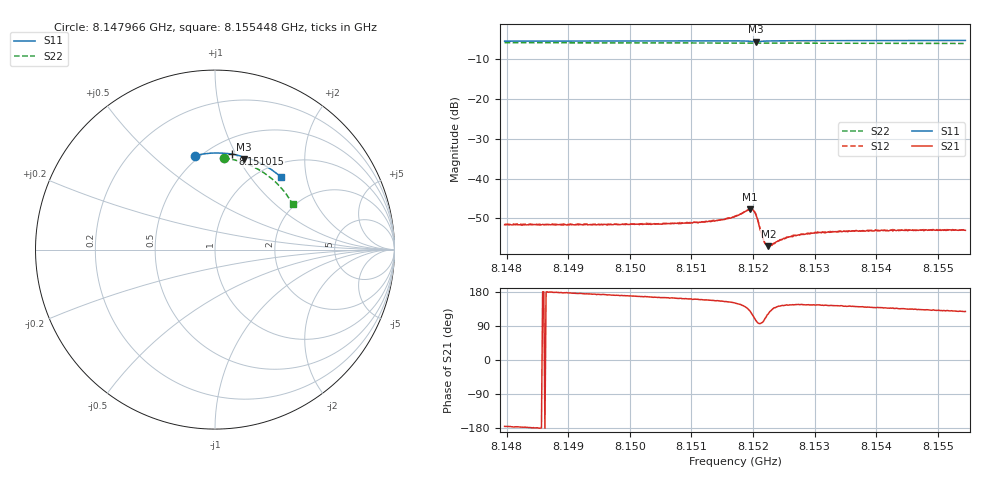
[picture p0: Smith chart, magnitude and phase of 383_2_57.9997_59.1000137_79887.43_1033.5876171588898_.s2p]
#  HZ  S  RI  R  50.00
! Rohde & Schwarz Vector Network Analyzer
! Rohde-Schwarz,ZNB20-2Port,1311601062101988,3.16
! Created: UTC 3/21/2024, 1:07:25 AM
! freq[Hz]  re:S11  im:S11  re:S21  im:S21  re:S12  im:S12  re:S22  im:S22
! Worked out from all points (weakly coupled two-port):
!   401 points, 8.147966 GHz to 8.155448 GHz, reference 50 ohm
!   highest |S21| = -47.76 dB at 8.15195 GHz (marker M1); lowest = -57.0 dB at 8.152249 GHz (marker M2)
!   lowest |S11| = -5.5 dB at 8.152044 GHz (marker M3), VSWR 3.25, Z = 37.6 + j52.7 ohm
!   |S11| at or under -10 dB: nowhere
!   |S22| runs from -6.0 to -5.8 dB; largest |S21 - S12| = 0.00012
!   S11 on the Smith chart (normalised r, x): 8.147966 GHz: 0.47, +0.69; 8.151015 GHz: 0.65, +0.97; 8.155448 GHz: 1.25, +1.44
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8.1479657e9  -0.1139 0.523  -0.00261 -0.000218  -0.00265 -0.000212  0.0519 0.5097
8.1492189e9  -0.0276 0.5369  -0.00262 0.000213  -0.00267 0.000275  0.1317 0.4933
8.1504722e9  0.0597 0.5363  -0.00258 0.000671  -0.00262 0.000711  0.207 0.4649
8.1510147e9  0.0974 0.5317  -0.00259 0.000951  -0.00265 0.000948  0.238 0.4489
8.1514262e9  0.1262 0.5258  -0.00272 0.00118  -0.00272 0.00123  0.2608 0.4355
8.1517068e9  0.1463 0.52  -0.00289 0.00164  -0.00292 0.00169  0.2756 0.4257
8.15195e9  0.1628 0.5084  -0.00259 0.00317  -0.00256 0.00324  0.2882 0.4164
8.1520061e9  0.1627 0.5046  -0.00168 0.00359  -0.00165 0.00366  0.2908 0.4144
8.1520435e9  0.1616 0.504  -0.000901 0.00342  -0.000874 0.00351  0.2925 0.4129
8.1520809e9  0.1609 0.5054  -0.000382 0.00288  -0.000337 0.00294  0.2944 0.4116
8.1521558e9  0.1645 0.5091  -0.000308 0.00179  -0.000321 0.00181  0.2983 0.409
8.1521745e9  0.1659 0.5097  -0.00039 0.0016  -0.000383 0.00162  0.2992 0.4082
8.1522119e9  0.1692 0.5103  -0.000585 0.00135  -0.000544 0.00138  0.3013 0.4069
8.1522493e9  0.1722 0.5105  -0.000749 0.00119  -0.000771 0.00121  0.3031 0.4055
8.1522867e9  0.1755 0.5103  -0.000927 0.00111  -0.000941 0.00112  0.305 0.404
8.1523241e9  0.1784 0.5099  -0.00108 0.00106  -0.00105 0.00107  0.3068 0.4026
8.1524738e9  0.1898 0.5074  -0.00138 0.001  -0.0014 0.00107  0.3143 0.3964
8.1526421e9  0.2016 0.5034  -0.00153 0.00104  -0.00156 0.00112  0.3222 0.3897
8.1529601e9  0.2228 0.4953  -0.00169 0.00117  -0.00167 0.00119  0.3372 0.3762
8.1536522e9  0.2665 0.4746  -0.0017 0.00136  -0.00172 0.00138  0.3678 0.3447
8.1542134e9  0.3002 0.4552  -0.00161 0.00152  -0.00162 0.00153  0.3901 0.3175
8.155448e9  0.3682 0.4042  -0.00138 0.00176  -0.00136 0.0018  0.4321 0.2531
